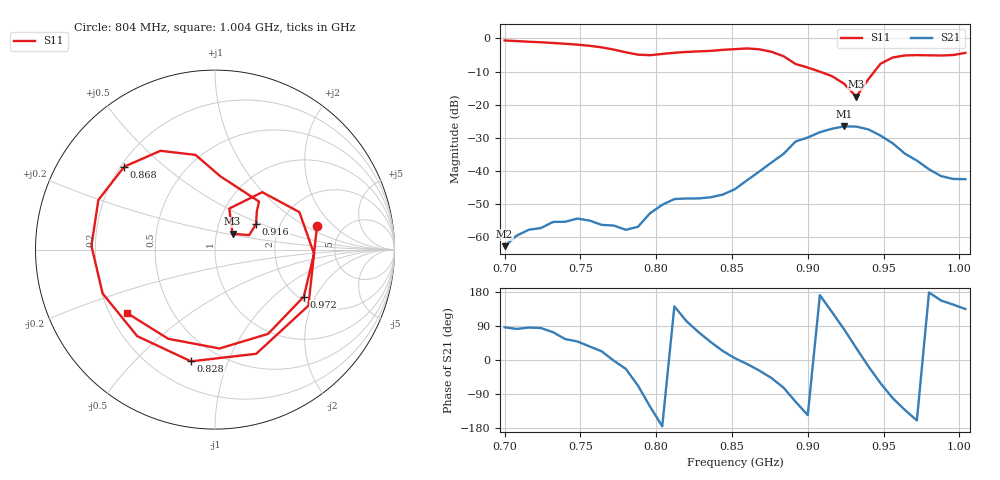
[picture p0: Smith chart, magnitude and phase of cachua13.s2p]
# Hz S RI R 50
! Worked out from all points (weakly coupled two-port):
!   39 points, 700 MHz to 1.004 GHz, reference 50 ohm
!   highest |S21| = -26.58 dB at 924 MHz (marker M1); lowest = -62.8 dB at 700 MHz (marker M2)
!   lowest |S11| = -17.6 dB at 932 MHz (marker M3), VSWR 1.30, Z = 59.8 + j10.7 ohm
!   |S11| at or under -10 dB: 907.7 MHz to 944 MHz (36.29 MHz wide, 3.92 % of centre)
!   S12 and S22 are empty: the file has one direction only
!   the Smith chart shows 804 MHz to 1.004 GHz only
!   S11 on the Smith chart (normalised r, x): 804 MHz: 3.25, +1.27; 828 MHz: 0.36, -0.74; 868 MHz: 0.21, +0.37; 916 MHz: 1.51, +0.46; 972 MHz: 2.12, -1.62; 1.004 GHz: 0.27, -0.30
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7e8  0.7679 0.5269  4.66e-05 0.000725  0 0  0 0
7.24e8  0.8337 -0.2626  0.000137 0.00136  0 0  0 0
7.4e8  0.4418 -0.7025  0.000972 0.00139  0 0  0 0
7.56e8  -0.2005 -0.747  0.00144 0.00104  0 0  0 0
7.72e8  -0.6528 -0.1839  0.00149 -4.44e-05  0 0  0 0
7.8e8  -0.5696 0.2369  0.00118 -0.000513  0 0  0 0
7.88e8  -0.2104 0.5276  0.000544 -0.00132  0 0  0 0
7.96e8  0.269 0.4886  -0.00126 -0.00191  0 0  0 0
8.04e8  0.5681 0.129  -0.00305 -0.000266  0 0  0 0
8.2e8  0.2297 -0.5805  -0.000824 0.00373  0 0  0 0
8.28e8  -0.134 -0.6226  0.0011 0.00366  0 0  0 0
8.52e8  -0.6885 0.0205  0.00527 0.000421  0 0  0 0
8.68e8  -0.506 0.4617  0.00861 -0.00453  0 0  0 0
8.84e8  -0.1085 0.5277  0.00529 -0.0172  0 0  0 0
9.08e8  0.2329 0.2114  -0.0379 0.00593  0 0  0 0
9.16e8  0.2287 0.1419  -0.0256 0.0348  0 0  0 0
9.24e8  0.1901 0.0806  0.0075 0.0463  0 0  0 0
9.32e8  0.0976 0.088  0.0397 0.0244  0 0  0 0
9.56e8  0.4703 0.2087  -0.00472 -0.0257  0 0  0 0
9.72e8  0.4951 -0.2616  -0.0134 -0.00497  0 0  0 0
9.88e8  0.0248 -0.551  -0.00764 0.00326  0 0  0 0
1.004e9  -0.4899 -0.3534  -0.00525 0.00532  0 0  0 0
